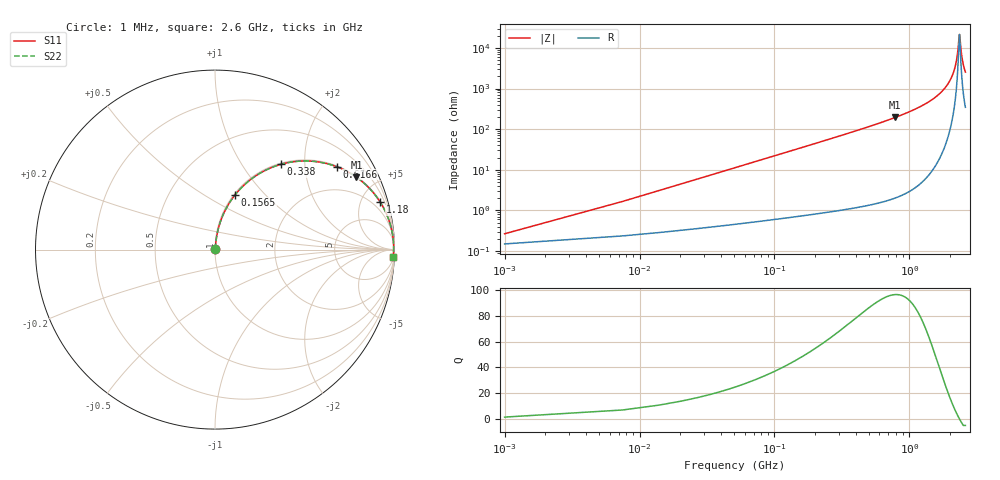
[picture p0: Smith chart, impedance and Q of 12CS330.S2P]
! Coilcraft 1206CS-330 Chip Inductor
! 29 July 2002
# MHZ S MA R 50
!Freq  MagS11  AngS11  MagS21  AngS21  MagS12  AngS12  MagS22  AngS22
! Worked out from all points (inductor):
!   403 points, 1 MHz to 2.6 GHz, reference 50 ohm
!   read as one part in series: L = 35 nH near 13.96 MHz
!   highest Q = 96.4 at 785.1 MHz (marker M1), where L = 39.4 nH
!   self-resonance near 2.347 GHz
!   S11 on the Smith chart (normalised r, x): 1 MHz: 1.00, +0.00; 156.5 MHz: 1.01, +0.69; 338 MHz: 1.02, +1.52; 616.6 MHz: 1.03, +2.91; 1.18 GHz: 1.09, +6.94; 2.6 GHz: 8, -50
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1  0.002655 55.7  0.9985 -0.1  0.9985 -0.1  0.002655 55.7
20.44  0.04488 83.3  0.9958 -2.6  0.9958 -2.6  0.04488 83.3
39.88  0.08713 82.3  0.9921 -5.0  0.9921 -5.0  0.08713 82.3
85.24  0.1836 77.7  0.9776 -10.6  0.9776 -10.6  0.1836 77.7
156.52  0.3247 69.9  0.939 -18.9  0.939 -18.9  0.3247 69.9
234.28  0.4585 61.8  0.881 -27.3  0.881 -27.3  0.4585 61.8
337.96  0.6006 52.3  0.7913 -36.9  0.7913 -36.9  0.6006 52.3
435.16  0.6996 44.9  0.706 -44.4  0.706 -44.4  0.6996 44.9
616.6  0.8202 34.3  0.5632 -55.1  0.5632 -55.1  0.8202 34.3
785.08  0.8855 27.1  0.4556 -62.3  0.4556 -62.3  0.8855 27.1
869.32  0.9079 24.2  0.4099 -65.2  0.4099 -65.2  0.9079 24.2
1180.36  0.9578 16.0  0.2759 -73.3  0.2759 -73.3  0.9578 16.0
1303.48  0.9689 13.5  0.2341 -75.7  0.2341 -75.7  0.9689 13.5
1737.64  0.9896 6.7  0.1175 -81.6  0.1175 -81.6  0.9896 6.7
1996.84  0.9942 3.6  0.06315 -82.9  0.06315 -82.9  0.9942 3.6
2171.8  0.9953 1.7  0.03081 -80.4  0.03081 -80.4  0.9953 1.7
2256.04  0.9955 0.9  0.01645 -73.6  0.01645 -73.6  0.9955 0.9
2333.8  0.9954 0.2  0.005366 -31.3  0.005366 -31.3  0.9954 0.2
2353.24  0.9954 -0.0  0.004642 4.8  0.004642 4.8  0.9954 -0.0
2456.92  0.995 -1.0  0.01768 72.9  0.01768 72.9  0.995 -1.0
2521.72  0.9945 -1.5  0.02748 77.8  0.02748 77.8  0.9945 -1.5
2600  0.9939 -2.2  0.03914 80.0  0.03914 80.0  0.9939 -2.2
